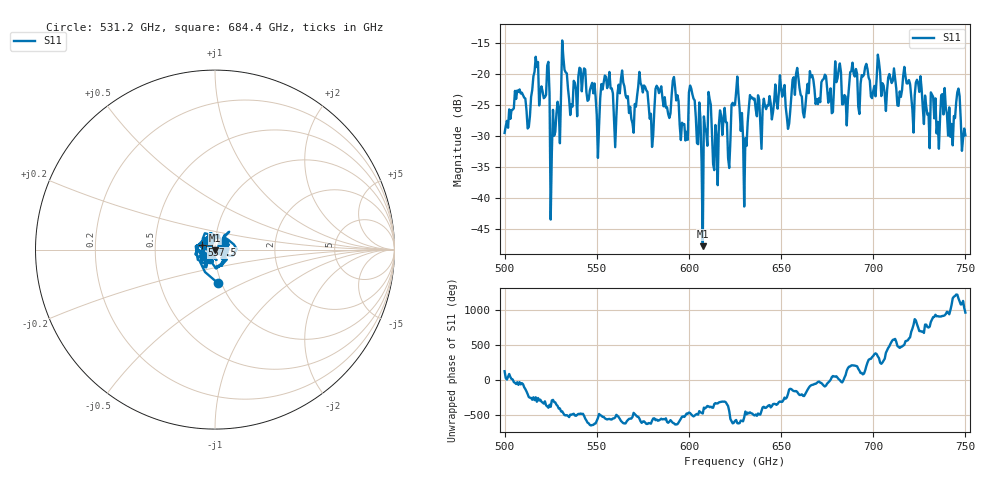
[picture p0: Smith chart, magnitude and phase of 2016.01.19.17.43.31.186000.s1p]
!Created with skrf (http://scikit-rf.org).
# GHz S RI R 50.0
!freq ReS11 ImS11
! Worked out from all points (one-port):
!   401 points, 500 GHz to 750 GHz, reference 50 ohm
!   lowest |S11| = -47.8 dB at 607.5 GHz (marker M1), VSWR 1.01, Z = 49.8 - j0.366 ohm
!   |S11| at or under -10 dB: start of sweep to end of sweep
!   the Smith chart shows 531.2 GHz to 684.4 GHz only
!   S11 on the Smith chart (normalised r, x): 531.2 GHz: 0.96, -0.37; 557.5 GHz: 0.86, +0.05; 684.4 GHz: 1.11, +0.09
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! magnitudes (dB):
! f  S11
! 500 GHz  -29.5
! 513.1 GHz  -28.5
! 516.9 GHz  -17.2
! 523.1 GHz  -18.6
! 526.2 GHz  -25.8
! 531.2 GHz  -14.6
! 550.6 GHz  -33.5
! 557.5 GHz  -22.3
! 562.5 GHz  -23.1
! 568.8 GHz  -27.2
! 573.8 GHz  -21.4
! 580 GHz  -31.8
! 593.8 GHz  -23.4
! 598.1 GHz  -30.7
! 601.9 GHz  -23.2
! 607.5 GHz  -47.8
! 610.6 GHz  -22.9
! 614.4 GHz  -28.2
! 621.2 GHz  -33.5
! 625 GHz  -24.9
! 630.6 GHz  -30.3
! 634.4 GHz  -23.8
! 656.2 GHz  -20.9
! 680.6 GHz  -20.7
! 684.4 GHz  -23.4
! 687.5 GHz  -19.7
! 718.8 GHz  -21.5
! 750 GHz  -29.9
